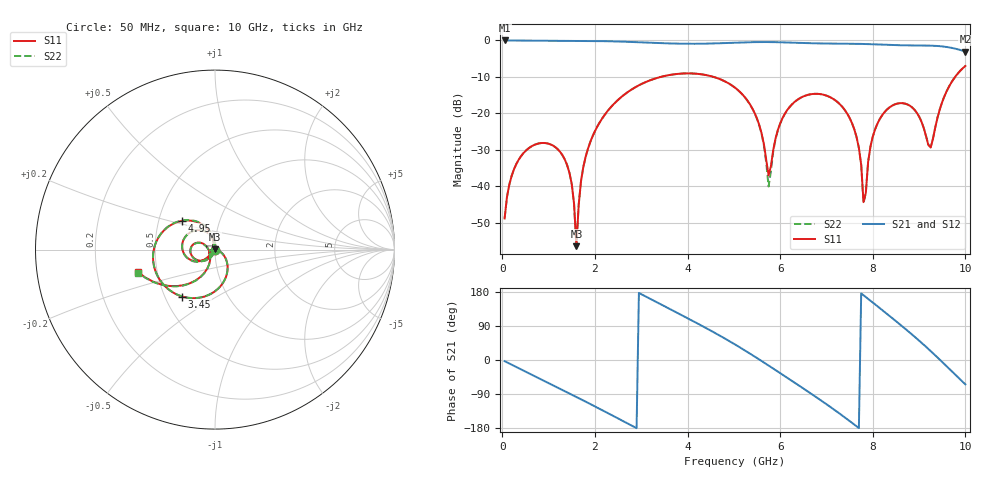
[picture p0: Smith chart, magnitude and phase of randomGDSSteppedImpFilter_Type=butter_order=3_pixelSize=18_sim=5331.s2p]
! freq	dB(S11)	phase(S11)	dB(S12)	phase(S12)
!  dB(S21)	phase(S21)	dB(S22)	phase(S22)
!S-par simulation data
#  GHz  S  DB  R 50
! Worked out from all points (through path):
!   200 points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, 50 MHz to 10 GHz, reference 50 ohm
!   highest |S21| = -0.01 dB at 50 MHz (marker M1); lowest = -3.1 dB at 10 GHz (marker M2)
!   lowest |S11| = -56.5 dB at 1.6 GHz (marker M3), VSWR 1.00, Z = 50 + j0.15 ohm
!   |S11| at or under -10 dB: start of sweep to 3.427 GHz; 4.558 GHz to 9.78 GHz (5.222 GHz wide, 72.8 % of centre)
!   |S22| runs from -56.5 to -7.0 dB; largest |S21 - S12| = 0
!   S11 on the Smith chart (normalised r, x): 50 MHz: 1.00, -0.01; 3.45 GHz: 0.61, -0.36; 4.95 GHz: 0.66, +0.22; 10 GHz: 0.39, -0.12
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0.05  -48.87 -78.5  -0.01 -3.1  -0.01 -3.1  -48.87 -78.5
0.35  -32.83 -110.6  -0.04 -21.2  -0.04 -21.2  -32.83 -110.7
1.05  -28.59 -154.4  -0.09 -63.6  -0.09 -63.6  -28.59 -154.4
1.45  -36.35 -179.3  -0.11 -88.1  -0.11 -88.1  -36.34 -179.3
1.6  -56.49 92.6  -0.12 -97.4  -0.12 -97.4  -56.49 92.7
1.75  -34.74 -16.0  -0.13 -106.7  -0.13 -106.7  -34.74 -16.1
2.3  -18.99 -51.7  -0.23 -141.5  -0.23 -141.5  -18.99 -51.8
3.4  -10.09 -121.8  -0.74 148.3  -0.74 148.3  -10.09 -122.0
3.45  -9.93 -124.9  -0.76 145.2  -0.76 145.2  -9.93 -125.1
4.95  -12.29 138.7  -0.66 46.5  -0.66 46.5  -12.30 137.8
5.05  -13.23 131.9  -0.61 39.2  -0.61 39.2  -13.24 130.8
5.55  -23.28 102.0  -0.45 1.2  -0.45 1.2  -23.38 98.3
5.75  -37.05 153.8  -0.45 -14.6  -0.45 -14.6  -40.13 150.0
6.05  -21.35 -137.9  -0.53 -38.6  -0.53 -38.6  -21.40 -135.2
6.7  -14.71 174.9  -0.79 -91.5  -0.79 -91.5  -14.71 175.6
7.5  -21.29 107.7  -0.91 -161.0  -0.91 -161.0  -21.30 106.9
7.7  -29.51 91.0  -0.95 -179.6  -0.95 -179.6  -29.54 87.7
7.8  -44.42 96.7  -0.98 170.9  -0.98 170.9  -44.67 67.5
8  -26.42 -120.7  -1.06 151.7  -1.06 151.7  -26.41 -117.3
8.35  -18.50 -152.1  -1.23 117.5  -1.23 117.5  -18.50 -150.6
9.25  -29.41 -152.6  -1.44 23.7  -1.44 23.7  -29.22 -151.8
10  -7.01 -163.6  -3.06 -64.2  -3.06 -64.2  -7.01 -163.3
